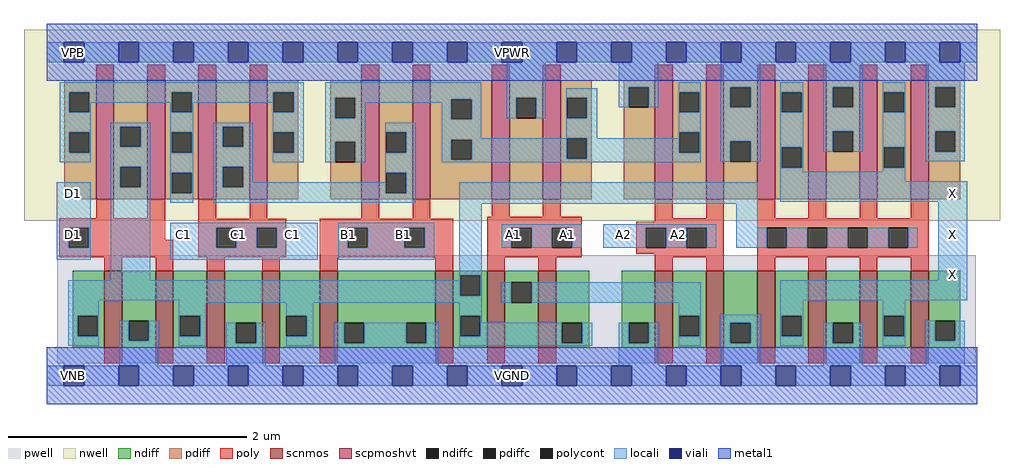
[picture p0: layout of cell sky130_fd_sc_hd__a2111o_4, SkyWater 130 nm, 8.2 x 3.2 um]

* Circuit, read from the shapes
.subckt sky130_fd_sc_hd__a2111o_4 A1 A2 B1 C1 D1 VGND VNB VPB VPWR X
XM1 VGND D1 n1 VNB sky130_fd_pr__nfet_01v8 w=0.65 l=0.15 m=2
XM2 VGND C1 n1 VNB sky130_fd_pr__nfet_01v8 w=0.65 l=0.15 m=2
XM3 VGND B1 n1 VNB sky130_fd_pr__nfet_01v8 w=0.65 l=0.15 m=2
XM4 n2 A1 n1 VNB sky130_fd_pr__nfet_01v8 w=0.65 l=0.15 m=2
XM5 n2 A2 VGND VNB sky130_fd_pr__nfet_01v8 w=0.65 l=0.15 m=2
XM6 X n1 VGND VNB sky130_fd_pr__nfet_01v8 w=0.65 l=0.15 m=4
XM7 n1 D1 n3 VPB sky130_fd_pr__pfet_01v8_hvt w=1 l=0.15 m=2
XM8 n4 C1 n3 VPB sky130_fd_pr__pfet_01v8_hvt w=1 l=0.15 m=2
XM9 n4 B1 n5 VPB sky130_fd_pr__pfet_01v8_hvt w=1 l=0.15 m=2
XM10 VPWR A1 n5 VPB sky130_fd_pr__pfet_01v8_hvt w=1 l=0.15 m=2
XM11 n5 A2 VPWR VPB sky130_fd_pr__pfet_01v8_hvt w=1 l=0.15 m=2
XM12 X n1 VPWR VPB sky130_fd_pr__pfet_01v8_hvt w=1 l=0.15 m=4
.ends

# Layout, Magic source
magic
tech sky130A
magscale 1 2
<< nwell >>
rect -38 261 1602 582
<< pwell >>
rect 18 21 1561 203
rect 29 -17 63 21
<< scnmos >>
rect 97 47 127 177
rect 183 47 213 177
rect 269 47 299 177
rect 362 47 392 177
rect 459 47 489 177
rect 653 47 683 177
rect 740 47 770 177
rect 826 47 856 177
rect 1022 47 1052 177
rect 1108 47 1138 177
rect 1194 47 1224 177
rect 1280 47 1310 177
rect 1366 47 1396 177
rect 1452 47 1482 177
<< scpmoshvt >>
rect 83 297 113 497
rect 169 297 199 497
rect 255 297 285 497
rect 341 297 371 497
rect 529 297 559 497
rect 615 297 645 497
rect 748 297 778 497
rect 834 297 864 497
rect 1022 297 1052 497
rect 1108 297 1138 497
rect 1194 297 1224 497
rect 1280 297 1310 497
rect 1366 297 1396 497
rect 1452 297 1482 497
<< ndiff >>
rect 44 101 97 177
rect 44 67 52 101
rect 86 67 97 101
rect 44 47 97 67
rect 127 93 183 177
rect 127 59 138 93
rect 172 59 183 93
rect 127 47 183 59
rect 213 101 269 177
rect 213 67 224 101
rect 258 67 269 101
rect 213 47 269 67
rect 299 89 362 177
rect 299 55 318 89
rect 352 55 362 89
rect 299 47 362 55
rect 392 101 459 177
rect 392 67 403 101
rect 437 67 459 101
rect 392 47 459 67
rect 489 89 653 177
rect 489 55 500 89
rect 534 55 604 89
rect 638 55 653 89
rect 489 47 653 55
rect 683 169 740 177
rect 683 135 695 169
rect 729 135 740 169
rect 683 101 740 135
rect 683 67 695 101
rect 729 67 740 101
rect 683 47 740 67
rect 770 157 826 177
rect 770 123 781 157
rect 815 123 826 157
rect 770 47 826 123
rect 856 89 912 177
rect 856 55 866 89
rect 900 55 912 89
rect 856 47 912 55
rect 966 89 1022 177
rect 966 55 978 89
rect 1012 55 1022 89
rect 966 47 1022 55
rect 1052 101 1108 177
rect 1052 67 1063 101
rect 1097 67 1108 101
rect 1052 47 1108 67
rect 1138 89 1194 177
rect 1138 55 1149 89
rect 1183 55 1194 89
rect 1138 47 1194 55
rect 1224 101 1280 177
rect 1224 67 1235 101
rect 1269 67 1280 101
rect 1224 47 1280 67
rect 1310 89 1366 177
rect 1310 55 1321 89
rect 1355 55 1366 89
rect 1310 47 1366 55
rect 1396 101 1452 177
rect 1396 67 1407 101
rect 1441 67 1452 101
rect 1396 47 1452 67
rect 1482 93 1535 177
rect 1482 59 1493 93
rect 1527 59 1535 93
rect 1482 47 1535 59
<< pdiff >>
rect 30 477 83 497
rect 30 443 38 477
rect 72 443 83 477
rect 30 409 83 443
rect 30 375 38 409
rect 72 375 83 409
rect 30 297 83 375
rect 113 419 169 497
rect 113 385 124 419
rect 158 385 169 419
rect 113 351 169 385
rect 113 317 124 351
rect 158 317 169 351
rect 113 297 169 317
rect 199 477 255 497
rect 199 443 210 477
rect 244 443 255 477
rect 199 409 255 443
rect 199 375 210 409
rect 244 375 255 409
rect 199 341 255 375
rect 199 307 210 341
rect 244 307 255 341
rect 199 297 255 307
rect 285 419 341 497
rect 285 385 296 419
rect 330 385 341 419
rect 285 351 341 385
rect 285 317 296 351
rect 330 317 341 351
rect 285 297 341 317
rect 371 477 423 497
rect 371 443 381 477
rect 415 443 423 477
rect 371 409 423 443
rect 371 375 381 409
rect 415 375 423 409
rect 371 297 423 375
rect 477 467 529 497
rect 477 433 485 467
rect 519 433 529 467
rect 477 393 529 433
rect 477 359 485 393
rect 519 359 529 393
rect 477 297 529 359
rect 559 409 615 497
rect 559 375 570 409
rect 604 375 615 409
rect 559 341 615 375
rect 559 307 570 341
rect 604 307 615 341
rect 559 297 615 307
rect 645 465 748 497
rect 645 431 680 465
rect 714 431 748 465
rect 645 397 748 431
rect 645 363 680 397
rect 714 363 748 397
rect 645 297 748 363
rect 778 467 834 497
rect 778 433 789 467
rect 823 433 834 467
rect 778 297 834 433
rect 864 467 916 497
rect 864 433 874 467
rect 908 433 916 467
rect 864 399 916 433
rect 864 365 874 399
rect 908 365 916 399
rect 864 297 916 365
rect 970 485 1022 497
rect 970 451 978 485
rect 1012 451 1022 485
rect 970 297 1022 451
rect 1052 477 1108 497
rect 1052 443 1063 477
rect 1097 443 1108 477
rect 1052 409 1108 443
rect 1052 375 1063 409
rect 1097 375 1108 409
rect 1052 297 1108 375
rect 1138 485 1194 497
rect 1138 451 1149 485
rect 1183 451 1194 485
rect 1138 394 1194 451
rect 1138 360 1149 394
rect 1183 360 1194 394
rect 1138 297 1194 360
rect 1224 477 1280 497
rect 1224 443 1235 477
rect 1269 443 1280 477
rect 1224 384 1280 443
rect 1224 350 1235 384
rect 1269 350 1280 384
rect 1224 297 1280 350
rect 1310 485 1366 497
rect 1310 451 1321 485
rect 1355 451 1366 485
rect 1310 411 1366 451
rect 1310 377 1321 411
rect 1355 377 1366 411
rect 1310 297 1366 377
rect 1396 477 1452 497
rect 1396 443 1407 477
rect 1441 443 1452 477
rect 1396 384 1452 443
rect 1396 350 1407 384
rect 1441 350 1452 384
rect 1396 297 1452 350
rect 1482 485 1535 497
rect 1482 451 1493 485
rect 1527 451 1535 485
rect 1482 411 1535 451
rect 1482 377 1493 411
rect 1527 377 1535 411
rect 1482 297 1535 377
<< ndiffc >>
rect 52 67 86 101
rect 138 59 172 93
rect 224 67 258 101
rect 318 55 352 89
rect 403 67 437 101
rect 500 55 534 89
rect 604 55 638 89
rect 695 135 729 169
rect 695 67 729 101
rect 781 123 815 157
rect 866 55 900 89
rect 978 55 1012 89
rect 1063 67 1097 101
rect 1149 55 1183 89
rect 1235 67 1269 101
rect 1321 55 1355 89
rect 1407 67 1441 101
rect 1493 59 1527 93
<< pdiffc >>
rect 38 443 72 477
rect 38 375 72 409
rect 124 385 158 419
rect 124 317 158 351
rect 210 443 244 477
rect 210 375 244 409
rect 210 307 244 341
rect 296 385 330 419
rect 296 317 330 351
rect 381 443 415 477
rect 381 375 415 409
rect 485 433 519 467
rect 485 359 519 393
rect 570 375 604 409
rect 570 307 604 341
rect 680 431 714 465
rect 680 363 714 397
rect 789 433 823 467
rect 874 433 908 467
rect 874 365 908 399
rect 978 451 1012 485
rect 1063 443 1097 477
rect 1063 375 1097 409
rect 1149 451 1183 485
rect 1149 360 1183 394
rect 1235 443 1269 477
rect 1235 350 1269 384
rect 1321 451 1355 485
rect 1321 377 1355 411
rect 1407 443 1441 477
rect 1407 350 1441 384
rect 1493 451 1527 485
rect 1493 377 1527 411
<< poly >>
rect 83 497 113 523
rect 169 497 199 523
rect 255 497 285 523
rect 341 497 371 523
rect 529 497 559 523
rect 615 497 645 523
rect 748 497 778 523
rect 834 497 864 523
rect 1022 497 1052 523
rect 1108 497 1138 523
rect 1194 497 1224 523
rect 1280 497 1310 523
rect 1366 497 1396 523
rect 1452 497 1482 523
rect 83 265 113 297
rect 169 265 199 297
rect 21 249 199 265
rect 21 215 37 249
rect 71 229 199 249
rect 255 264 285 297
rect 341 264 371 297
rect 529 264 559 297
rect 615 264 645 297
rect 748 267 778 297
rect 834 267 864 297
rect 255 249 403 264
rect 71 215 213 229
rect 21 199 213 215
rect 255 215 285 249
rect 319 215 353 249
rect 387 215 403 249
rect 255 199 403 215
rect 459 249 683 264
rect 459 215 506 249
rect 540 215 601 249
rect 635 215 683 249
rect 459 199 683 215
rect 97 177 127 199
rect 183 177 213 199
rect 269 177 299 199
rect 362 177 392 199
rect 459 177 489 199
rect 653 177 683 199
rect 740 249 899 267
rect 1022 265 1052 297
rect 1108 265 1138 297
rect 1022 259 1138 265
rect 740 215 781 249
rect 815 215 849 249
rect 883 215 899 249
rect 740 199 899 215
rect 991 249 1138 259
rect 991 215 1007 249
rect 1041 215 1075 249
rect 1109 215 1138 249
rect 991 205 1138 215
rect 1022 199 1138 205
rect 740 177 770 199
rect 826 177 856 199
rect 1022 177 1052 199
rect 1108 177 1138 199
rect 1194 265 1224 297
rect 1280 265 1310 297
rect 1366 265 1396 297
rect 1452 265 1482 297
rect 1194 249 1482 265
rect 1194 215 1210 249
rect 1244 215 1278 249
rect 1312 215 1346 249
rect 1380 215 1414 249
rect 1448 215 1482 249
rect 1194 199 1482 215
rect 1194 177 1224 199
rect 1280 177 1310 199
rect 1366 177 1396 199
rect 1452 177 1482 199
rect 97 21 127 47
rect 183 21 213 47
rect 269 21 299 47
rect 362 21 392 47
rect 459 21 489 47
rect 653 21 683 47
rect 740 21 770 47
rect 826 21 856 47
rect 1022 21 1052 47
rect 1108 21 1138 47
rect 1194 21 1224 47
rect 1280 21 1310 47
rect 1366 21 1396 47
rect 1452 21 1482 47
<< polycont >>
rect 37 215 71 249
rect 285 215 319 249
rect 353 215 387 249
rect 506 215 540 249
rect 601 215 635 249
rect 781 215 815 249
rect 849 215 883 249
rect 1007 215 1041 249
rect 1075 215 1109 249
rect 1210 215 1244 249
rect 1278 215 1312 249
rect 1346 215 1380 249
rect 1414 215 1448 249
<< locali >>
rect 0 527 29 561
rect 63 527 121 561
rect 155 527 213 561
rect 247 527 305 561
rect 339 527 397 561
rect 431 527 489 561
rect 523 527 581 561
rect 615 527 673 561
rect 707 527 765 561
rect 799 527 857 561
rect 891 527 949 561
rect 983 527 1041 561
rect 1075 527 1133 561
rect 1167 527 1225 561
rect 1259 527 1317 561
rect 1351 527 1409 561
rect 1443 527 1501 561
rect 1535 527 1564 561
rect 22 477 432 493
rect 22 443 38 477
rect 72 459 210 477
rect 72 443 74 459
rect 22 409 74 443
rect 208 443 210 459
rect 244 459 381 477
rect 244 443 246 459
rect 22 375 38 409
rect 72 375 74 409
rect 22 359 74 375
rect 108 419 174 425
rect 108 385 124 419
rect 158 385 174 419
rect 108 351 174 385
rect 17 249 74 325
rect 17 215 37 249
rect 71 215 74 249
rect 17 195 74 215
rect 108 317 124 351
rect 158 317 174 351
rect 108 161 174 317
rect 208 409 246 443
rect 380 443 381 459
rect 415 443 432 477
rect 208 375 210 409
rect 244 375 246 409
rect 208 341 246 375
rect 208 307 210 341
rect 244 307 246 341
rect 208 291 246 307
rect 280 419 346 425
rect 280 385 296 419
rect 330 385 346 419
rect 280 351 346 385
rect 380 409 432 443
rect 380 375 381 409
rect 415 375 432 409
rect 380 359 432 375
rect 468 467 730 493
rect 468 433 485 467
rect 519 465 730 467
rect 519 459 680 465
rect 519 433 535 459
rect 468 393 535 433
rect 664 431 680 459
rect 714 431 730 465
rect 773 467 839 527
rect 961 485 1028 527
rect 773 433 789 467
rect 823 433 839 467
rect 873 467 925 483
rect 873 433 874 467
rect 908 433 925 467
rect 961 451 978 485
rect 1012 451 1028 485
rect 1062 477 1099 493
rect 468 359 485 393
rect 519 359 535 393
rect 569 409 620 425
rect 569 375 570 409
rect 604 375 620 409
rect 280 317 296 351
rect 330 325 346 351
rect 569 341 620 375
rect 664 399 730 431
rect 873 399 925 433
rect 1062 443 1063 477
rect 1097 443 1099 477
rect 1062 409 1099 443
rect 1062 399 1063 409
rect 664 397 874 399
rect 664 363 680 397
rect 714 365 874 397
rect 908 375 1063 399
rect 1097 375 1099 409
rect 908 365 1099 375
rect 714 363 1099 365
rect 664 359 1099 363
rect 1133 485 1199 527
rect 1133 451 1149 485
rect 1183 451 1199 485
rect 1133 394 1199 451
rect 1133 360 1149 394
rect 1183 360 1199 394
rect 1233 477 1271 493
rect 1233 443 1235 477
rect 1269 443 1271 477
rect 1233 384 1271 443
rect 569 325 570 341
rect 330 317 570 325
rect 280 307 570 317
rect 604 307 620 341
rect 1233 350 1235 384
rect 1269 350 1271 384
rect 1305 485 1371 527
rect 1305 451 1321 485
rect 1355 451 1371 485
rect 1305 411 1371 451
rect 1305 377 1321 411
rect 1355 377 1371 411
rect 1405 477 1443 493
rect 1405 443 1407 477
rect 1441 443 1443 477
rect 1405 384 1443 443
rect 1233 343 1271 350
rect 1405 350 1407 384
rect 1441 350 1443 384
rect 1477 485 1543 527
rect 1477 451 1493 485
rect 1527 451 1543 485
rect 1477 411 1543 451
rect 1477 377 1493 411
rect 1527 377 1543 411
rect 1477 361 1543 377
rect 1405 343 1443 350
rect 1233 327 1443 343
rect 280 291 620 307
rect 693 289 1195 325
rect 1233 293 1547 327
rect 208 249 456 257
rect 208 215 285 249
rect 319 215 353 249
rect 387 215 456 249
rect 208 195 456 215
rect 490 249 651 257
rect 490 215 506 249
rect 540 215 601 249
rect 635 215 651 249
rect 490 195 651 215
rect 693 169 731 289
rect 765 249 899 255
rect 765 215 781 249
rect 815 215 849 249
rect 883 215 899 249
rect 935 249 1125 255
rect 935 215 1007 249
rect 1041 215 1075 249
rect 1109 215 1125 249
rect 1159 249 1195 289
rect 1159 215 1210 249
rect 1244 215 1278 249
rect 1312 215 1346 249
rect 1380 215 1414 249
rect 1448 215 1464 249
rect 693 161 695 169
rect 36 135 695 161
rect 729 135 731 169
rect 1498 161 1547 293
rect 36 127 731 135
rect 36 101 88 127
rect 36 67 52 101
rect 86 67 88 101
rect 222 123 731 127
rect 765 123 781 157
rect 815 123 1099 157
rect 222 101 268 123
rect 36 51 88 67
rect 122 59 138 93
rect 172 59 188 93
rect 122 17 188 59
rect 222 67 224 101
rect 258 67 268 101
rect 403 101 448 123
rect 222 51 268 67
rect 302 55 318 89
rect 352 55 368 89
rect 302 17 368 55
rect 437 67 448 101
rect 693 101 731 123
rect 403 51 448 67
rect 484 55 500 89
rect 534 55 604 89
rect 638 55 659 89
rect 484 17 659 55
rect 693 67 695 101
rect 729 89 731 101
rect 1062 101 1099 123
rect 1233 127 1547 161
rect 729 67 866 89
rect 693 55 866 67
rect 900 55 917 89
rect 693 51 917 55
rect 961 55 978 89
rect 1012 55 1028 89
rect 961 17 1028 55
rect 1062 67 1063 101
rect 1097 67 1099 101
rect 1062 51 1099 67
rect 1133 89 1199 103
rect 1133 55 1149 89
rect 1183 55 1199 89
rect 1133 17 1199 55
rect 1233 101 1271 127
rect 1233 67 1235 101
rect 1269 67 1271 101
rect 1405 101 1443 127
rect 1233 51 1271 67
rect 1305 55 1321 89
rect 1355 55 1371 89
rect 1305 17 1371 55
rect 1405 67 1407 101
rect 1441 67 1443 101
rect 1405 51 1443 67
rect 1477 59 1493 93
rect 1527 59 1543 93
rect 1477 17 1543 59
rect 0 -17 29 17
rect 63 -17 121 17
rect 155 -17 213 17
rect 247 -17 305 17
rect 339 -17 397 17
rect 431 -17 489 17
rect 523 -17 581 17
rect 615 -17 673 17
rect 707 -17 765 17
rect 799 -17 857 17
rect 891 -17 949 17
rect 983 -17 1041 17
rect 1075 -17 1133 17
rect 1167 -17 1225 17
rect 1259 -17 1317 17
rect 1351 -17 1409 17
rect 1443 -17 1501 17
rect 1535 -17 1564 17
<< viali >>
rect 29 527 63 561
rect 121 527 155 561
rect 213 527 247 561
rect 305 527 339 561
rect 397 527 431 561
rect 489 527 523 561
rect 581 527 615 561
rect 673 527 707 561
rect 765 527 799 561
rect 857 527 891 561
rect 949 527 983 561
rect 1041 527 1075 561
rect 1133 527 1167 561
rect 1225 527 1259 561
rect 1317 527 1351 561
rect 1409 527 1443 561
rect 1501 527 1535 561
rect 29 -17 63 17
rect 121 -17 155 17
rect 213 -17 247 17
rect 305 -17 339 17
rect 397 -17 431 17
rect 489 -17 523 17
rect 581 -17 615 17
rect 673 -17 707 17
rect 765 -17 799 17
rect 857 -17 891 17
rect 949 -17 983 17
rect 1041 -17 1075 17
rect 1133 -17 1167 17
rect 1225 -17 1259 17
rect 1317 -17 1351 17
rect 1409 -17 1443 17
rect 1501 -17 1535 17
<< metal1 >>
rect 0 561 1564 592
rect 0 527 29 561
rect 63 527 121 561
rect 155 527 213 561
rect 247 527 305 561
rect 339 527 397 561
rect 431 527 489 561
rect 523 527 581 561
rect 615 527 673 561
rect 707 527 765 561
rect 799 527 857 561
rect 891 527 949 561
rect 983 527 1041 561
rect 1075 527 1133 561
rect 1167 527 1225 561
rect 1259 527 1317 561
rect 1351 527 1409 561
rect 1443 527 1501 561
rect 1535 527 1564 561
rect 0 496 1564 527
rect 0 17 1564 48
rect 0 -17 29 17
rect 63 -17 121 17
rect 155 -17 213 17
rect 247 -17 305 17
rect 339 -17 397 17
rect 431 -17 489 17
rect 523 -17 581 17
rect 615 -17 673 17
rect 707 -17 765 17
rect 799 -17 857 17
rect 891 -17 949 17
rect 983 -17 1041 17
rect 1075 -17 1133 17
rect 1167 -17 1225 17
rect 1259 -17 1317 17
rect 1351 -17 1409 17
rect 1443 -17 1501 17
rect 1535 -17 1564 17
rect 0 -48 1564 -17
<< labels >>
flabel locali s 305 221 339 255 0 FreeSans 400 0 0 0 C1
port 4 nsew signal input
flabel locali s 583 221 617 255 0 FreeSans 400 0 0 0 B1
port 3 nsew signal input
flabel locali s 859 221 893 255 0 FreeSans 400 0 0 0 A1
port 1 nsew signal input
flabel locali s 1045 221 1079 255 0 FreeSans 400 0 0 0 A2
port 2 nsew signal input
flabel locali s 1505 153 1539 187 0 FreeSans 400 0 0 0 X
port 10 nsew signal output
flabel locali s 29 221 63 255 0 FreeSans 400 0 0 0 D1
port 5 nsew signal input
flabel locali s 29 289 63 323 0 FreeSans 400 0 0 0 D1
port 5 nsew signal input
flabel locali s 213 221 247 255 0 FreeSans 400 0 0 0 C1
port 4 nsew signal input
flabel locali s 397 221 431 255 0 FreeSans 400 0 0 0 C1
port 4 nsew signal input
flabel locali s 491 221 525 255 0 FreeSans 400 0 0 0 B1
port 3 nsew signal input
flabel locali s 767 221 801 255 0 FreeSans 400 0 0 0 A1
port 1 nsew signal input
flabel locali s 951 221 987 255 0 FreeSans 400 0 0 0 A2
port 2 nsew signal input
flabel locali s 1505 221 1539 255 0 FreeSans 400 0 0 0 X
port 10 nsew signal output
flabel locali s 1505 289 1539 323 0 FreeSans 400 0 0 0 X
port 10 nsew signal output
flabel pwell s 29 -17 63 17 0 FreeSans 200 0 0 0 VNB
port 7 nsew ground bidirectional
flabel nwell s 29 527 63 561 0 FreeSans 200 0 0 0 VPB
port 8 nsew power bidirectional
flabel metal1 s 29 -17 63 17 0 FreeSans 200 0 0 0 VGND
port 6 nsew ground bidirectional abutment
flabel metal1 s 29 527 63 561 0 FreeSans 200 0 0 0 VPWR
port 9 nsew power bidirectional abutment
rlabel comment s 0 0 0 0 4 a2111o_4
rlabel metal1 s 0 -48 1564 48 1 VGND
port 6 nsew ground bidirectional abutment
rlabel metal1 s 0 496 1564 592 1 VPWR
port 9 nsew power bidirectional abutment
<< properties >>
string FIXED_BBOX 0 0 1564 544
string GDS_END 3763598
string GDS_FILE $PDKPATH/libs.ref/sky130_fd_sc_hd/gds/sky130_fd_sc_hd.gds
string GDS_START 3751244
string LEFclass CORE
string LEFsite unithd
string LEFsymmetry X Y R90
string path 0.000 0.000 39.100 0.000 
<< end >>
